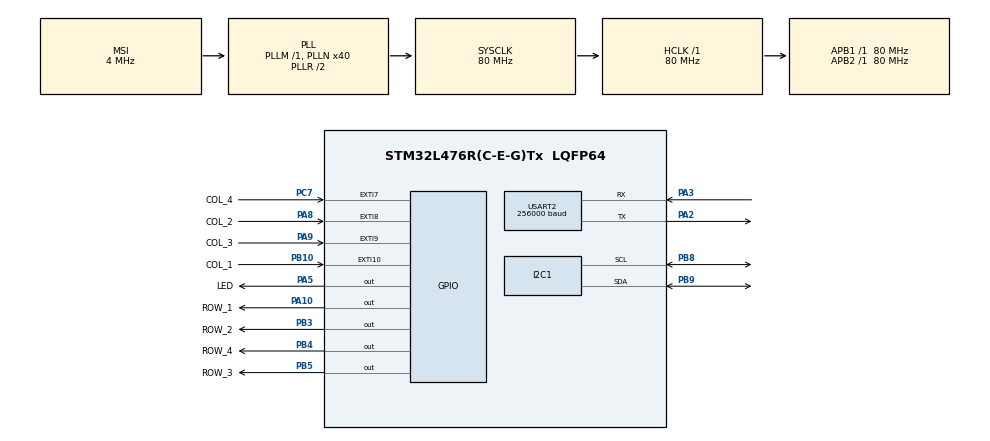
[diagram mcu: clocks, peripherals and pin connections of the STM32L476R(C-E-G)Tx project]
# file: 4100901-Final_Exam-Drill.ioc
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I2C1.Timing=0x10909CEC
Mcu.Family=STM32L4
Mcu.Name=STM32L476R(C-E-G)Tx
Mcu.Package=LQFP64
NVIC.EXTI15_10_IRQn=true\:0\:0\:false\:false\:true\:true\:true\:true
NVIC.EXTI9_5_IRQn=true\:0\:0\:false\:false\:true\:true\:true\:true
NVIC.PriorityGroup=NVIC_PRIORITYGROUP_4
NVIC.USART2_IRQn=true\:0\:0\:false\:false\:true\:true\:true\:true
PA10.GPIO_Label=ROW_1
PA10.PinState=GPIO_PIN_SET
PA10.Signal=GPIO_Output
PA2.Mode=Asynchronous
PA2.Signal=USART2_TX
PA3.Mode=Asynchronous
PA3.Signal=USART2_RX
PA5.GPIO_Label=LED
PA5.Signal=GPIO_Output
PA8.GPIO_Label=COL_2
PA8.GPIO_ModeDefaultEXTI=GPIO_MODE_IT_RISING
PA8.GPIO_PuPd=GPIO_PULLDOWN
PA8.Signal=GPXTI8
PA9.GPIO_Label=COL_3
PA9.GPIO_ModeDefaultEXTI=GPIO_MODE_IT_RISING
PA9.GPIO_PuPd=GPIO_PULLDOWN
PA9.Signal=GPXTI9
PB10.GPIO_Label=COL_1
PB10.GPIO_ModeDefaultEXTI=GPIO_MODE_IT_RISING
PB10.GPIO_PuPd=GPIO_PULLDOWN
PB10.Signal=GPXTI10
PB3\ (JTDO-TRACESWO).GPIO_Label=ROW_2
PB3\ (JTDO-TRACESWO).PinState=GPIO_PIN_SET
PB3\ (JTDO-TRACESWO).Signal=GPIO_Output
PB4\ (NJTRST).GPIO_Label=ROW_4
PB4\ (NJTRST).PinState=GPIO_PIN_SET
PB4\ (NJTRST).Signal=GPIO_Output
PB5.GPIO_Label=ROW_3
PB5.PinState=GPIO_PIN_SET
PB5.Signal=GPIO_Output
PB8.Mode=I2C
PB8.Signal=I2C1_SCL
PB9.Mode=I2C
PB9.Signal=I2C1_SDA
PC7.GPIO_Label=COL_4
PC7.GPIO_ModeDefaultEXTI=GPIO_MODE_IT_RISING
PC7.GPIO_PuPd=GPIO_PULLDOWN
PC7.Signal=GPXTI7
ProjectManager.HeapSize=0x200
ProjectManager.StackSize=0x400
ProjectManager.TargetToolchain=STM32CubeIDE
RCC.AHBFreq_Value=80000000
RCC.APB1Freq_Value=80000000
RCC.APB1TimFreq_Value=80000000
RCC.APB2Freq_Value=80000000
RCC.APB2TimFreq_Value=80000000
RCC.CortexFreq_Value=80000000
RCC.HCLKFreq_Value=80000000
RCC.HSE_VALUE=8000000
RCC.HSI_VALUE=16000000
RCC.LSE_VALUE=32768
RCC.MSI_VALUE=4000000
RCC.PLLN=40
RCC.SYSCLKFreq_VALUE=80000000
RCC.SYSCLKSource=RCC_SYSCLKSOURCE_PLLCLK
RCC.VCOOutputFreq_Value=160000000
USART2.BaudRate=256000
USART2.VirtualMode-Asynchronous=VM_ASYNC
board=custom

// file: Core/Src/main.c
/* USER CODE BEGIN Header */
/**
  ******************************************************************************
  * @file           : main.c
  * @brief          : Main program body
  ******************************************************************************
  * @attention
  *
  * Copyright (c) 2024 STMicroelectronics.
  * All rights reserved.
  *
  * This software is licensed under terms that can be found in the LICENSE file
  * in the root directory of this software component.
  * If no LICENSE file comes with this software, it is provided AS-IS.
  *
  ******************************************************************************
  */
/* USER CODE END Header */
#include "main.h"

/* USER CODE BEGIN Includes */
#include <stdio.h>
#include <string.h>
#include "ssd1306.h"
#include "ssd1306_fonts.h"
#include "keypad.h"
#include "led.h"
/* USER CODE END Includes */

/* USER CODE BEGIN PD */
// Definition of Variables
#define MAX_ID_LENGTH 10 // Maximum length for ID input
#define ID_OK "1080691539" // Number of correct ID
#define LED_ON_DURATION 3000  // Led On for 3 seconds (3000ms)

/* USER CODE END PD */

I2C_HandleTypeDef hi2c1;

UART_HandleTypeDef huart2;

/* USER CODE BEGIN PV */
char id[MAX_ID_LENGTH + 1];  // Buffer for storing ID, +1 for null-termination
uint8_t id_idx = 0;  // Index for the current position in the ID buffer
uint8_t system_status = 0;  // System state: 0 = off, 1 = ID correct, 2 = ID incorrect
uint32_t led_start_time = 0; // Time when the LED was turned on
/* USER CODE END PV */

void SystemClock_Config(void);
static void MX_GPIO_Init(void);
static void MX_USART2_UART_Init(void);
static void MX_I2C1_Init(void);

/* USER CODE BEGIN 0 */
int _write(int file, char *ptr, int len)
{
  HAL_UART_Transmit(&huart2, (uint8_t *)ptr, len, HAL_MAX_DELAY);
  return len;
}

void HAL_GPIO_EXTI_Callback(uint16_t GPIO_Pin)
{
	uint8_t key_pressed = keypad_scan(GPIO_Pin);
	if (key_pressed != 0xFF){
		printf("Pressed: %c\r\n",key_pressed);
		// Handle numeric input
		if(key_pressed >='0' && key_pressed <= '9' && id_idx < MAX_ID_LENGTH){
			id[id_idx++] = key_pressed;
			id[id_idx] = '\0'; // Null-terminate the string
			// Update OLED display with entered ID
			ssd1306_Fill(Black);
			ssd1306_SetCursor(0,0);
			ssd1306_WriteString("ID: ",Font_7x10,White);
			ssd1306_SetCursor(0,15);
			ssd1306_WriteString(id, Font_7x10,White);
			ssd1306_UpdateScreen();
			printf("ID Entered: %s\r\n", id);
		// Handle '#' key for ID verification
		}else if(key_pressed == '#'){
			printf("Verifying ID\r\n");
			if(strcmp(id,ID_OK)==0){
				system_status=1; //ID CORRECT
				printf("ID Correct\r\n");
			}else{
				system_status=2; // ID INCORRECT
				printf("ID Incorrect\r\n");
			}
			led_start_time = HAL_GetTick();
			// Handle '*' key for reset
		}else if (key_pressed == '*'){
			memset(id,0,sizeof(id));
			id_idx = 0;
			ssd1306_Fill(Black);
			ssd1306_SetCursor(0,0);
			ssd1306_WriteString("ID: ",Font_7x10,White);
			ssd1306_UpdateScreen();
			printf("Reset\r\n");
		}

		}
}
/* USER CODE END 0 */

int main(void)
{

  /* MCU Configuration--------------------------------------------------------*/

  /* Reset of all peripherals, Initializes the Flash interface and the Systick. */
  HAL_Init();

  /* Configure the system clock */
  SystemClock_Config();

  /* Initialize all configured peripherals */
  MX_GPIO_Init();
  MX_USART2_UART_Init();
  MX_I2C1_Init();
  /* USER CODE BEGIN 2 */
  LED_Init(LED_GPIO_Port, LED_Pin);
  // Initialize SSD1306 OLED display
  ssd1306_Init();
  printf("SSD1306 initialization attempted\r\n");
  // Clear the display and show initial message
  ssd1306_Fill(Black);
  ssd1306_SetCursor(0, 0);
  ssd1306_WriteString("Enter ID:", Font_7x10, White);
  ssd1306_UpdateScreen();
  /* USER CODE END 2 */

  /* Infinite loop */
  while (1)
  {

    /* USER CODE BEGIN 3 */
	  if(system_status !=0){
		  uint32_t current_time = HAL_GetTick();
		  // Check if LED should be on or blinking
		  if(current_time - led_start_time <LED_ON_DURATION){
			  if(system_status == 1){
				  LED_SetState(LED_ON); // Correct ID: Solid LED
			  }else{
				  LED_SetState(LED_BLINK);  // Incorrect ID: Blinking LED
			  }
			  LED_Update();
		  }else{
			  // After LED_ON_DURATION, turn off LED and update display
			  LED_SetState(LED_OFF);
			  ssd1306_Fill(Black);
			  ssd1306_SetCursor(0,0);
			  ssd1306_WriteString(system_status == 1 ? "Success" : "Error", Font_11x18, White);
			  ssd1306_UpdateScreen();
			  printf("Display Updated: %s\r\n", system_status == 1 ? "Success" : "Error");
			  HAL_Delay(1000); // Display result for 1 second
			  // Reset system for next ID entry
			  ssd1306_Fill(Black);
			  ssd1306_SetCursor(0,0);
			  ssd1306_WriteString("Enter ID:", Font_7x10, White);
			  ssd1306_UpdateScreen();
			  printf("System Reset, You can enter a new ID\r\n");
			  memset(id,0,sizeof(id));
			  id_idx = 0;
			  system_status=0;
		  }
	  }
  }
  /* USER CODE END 3 */
}

void SystemClock_Config(void)
{
  RCC_OscInitTypeDef RCC_OscInitStruct = {0};
  RCC_ClkInitTypeDef RCC_ClkInitStruct = {0};

  /** Configure the main internal regulator output voltage
  */
  if (HAL_PWREx_ControlVoltageScaling(PWR_REGULATOR_VOLTAGE_SCALE1) != HAL_OK)
  {
    Error_Handler();
  }

  /** Initializes the RCC Oscillators according to the specified parameters
  * in the RCC_OscInitTypeDef structure.
  */
  RCC_OscInitStruct.OscillatorType = RCC_OSCILLATORTYPE_MSI;
  RCC_OscInitStruct.MSIState = RCC_MSI_ON;
  RCC_OscInitStruct.MSICalibrationValue = 0;
  RCC_OscInitStruct.MSIClockRange = RCC_MSIRANGE_6;
  RCC_OscInitStruct.PLL.PLLState = RCC_PLL_ON;
  RCC_OscInitStruct.PLL.PLLSource = RCC_PLLSOURCE_MSI;
  RCC_OscInitStruct.PLL.PLLM = 1;
  RCC_OscInitStruct.PLL.PLLN = 40;
  RCC_OscInitStruct.PLL.PLLP = RCC_PLLP_DIV7;
  RCC_OscInitStruct.PLL.PLLQ = RCC_PLLQ_DIV2;
  RCC_OscInitStruct.PLL.PLLR = RCC_PLLR_DIV2;
  if (HAL_RCC_OscConfig(&RCC_OscInitStruct) != HAL_OK)
  {
    Error_Handler();
  }

  /** Initializes the CPU, AHB and APB buses clocks
  */
  RCC_ClkInitStruct.ClockType = RCC_CLOCKTYPE_HCLK|RCC_CLOCKTYPE_SYSCLK
                              |RCC_CLOCKTYPE_PCLK1|RCC_CLOCKTYPE_PCLK2;
  RCC_ClkInitStruct.SYSCLKSource = RCC_SYSCLKSOURCE_PLLCLK;
  RCC_ClkInitStruct.AHBCLKDivider = RCC_SYSCLK_DIV1;
  RCC_ClkInitStruct.APB1CLKDivider = RCC_HCLK_DIV1;
  RCC_ClkInitStruct.APB2CLKDivider = RCC_HCLK_DIV1;

  if (HAL_RCC_ClockConfig(&RCC_ClkInitStruct, FLASH_LATENCY_4) != HAL_OK)
  {
    Error_Handler();
  }
}

static void MX_I2C1_Init(void)
{

  hi2c1.Instance = I2C1;
  hi2c1.Init.Timing = 0x10909CEC;
  hi2c1.Init.OwnAddress1 = 0;
  hi2c1.Init.AddressingMode = I2C_ADDRESSINGMODE_7BIT;
  hi2c1.Init.DualAddressMode = I2C_DUALADDRESS_DISABLE;
  hi2c1.Init.OwnAddress2 = 0;
  hi2c1.Init.OwnAddress2Masks = I2C_OA2_NOMASK;
  hi2c1.Init.GeneralCallMode = I2C_GENERALCALL_DISABLE;
  hi2c1.Init.NoStretchMode = I2C_NOSTRETCH_DISABLE;
  if (HAL_I2C_Init(&hi2c1) != HAL_OK)
  {
    Error_Handler();
  }

  /** Configure Analogue filter
  */
  if (HAL_I2CEx_ConfigAnalogFilter(&hi2c1, I2C_ANALOGFILTER_ENABLE) != HAL_OK)
  {
    Error_Handler();
  }

  /** Configure Digital filter
  */
  if (HAL_I2CEx_ConfigDigitalFilter(&hi2c1, 0) != HAL_OK)
  {
    Error_Handler();
  }

}

static void MX_USART2_UART_Init(void)
{

  huart2.Instance = USART2;
  huart2.Init.BaudRate = 256000;
  huart2.Init.WordLength = UART_WORDLENGTH_8B;
  huart2.Init.StopBits = UART_STOPBITS_1;
  huart2.Init.Parity = UART_PARITY_NONE;
  huart2.Init.Mode = UART_MODE_TX_RX;
  huart2.Init.HwFlowCtl = UART_HWCONTROL_NONE;
  huart2.Init.OverSampling = UART_OVERSAMPLING_16;
  huart2.Init.OneBitSampling = UART_ONE_BIT_SAMPLE_DISABLE;
  huart2.AdvancedInit.AdvFeatureInit = UART_ADVFEATURE_NO_INIT;
  if (HAL_UART_Init(&huart2) != HAL_OK)
  {
    Error_Handler();
  }

}

static void MX_GPIO_Init(void)
{
  GPIO_InitTypeDef GPIO_InitStruct = {0};

  /* GPIO Ports Clock Enable */
  __HAL_RCC_GPIOA_CLK_ENABLE();
  __HAL_RCC_GPIOB_CLK_ENABLE();
  __HAL_RCC_GPIOC_CLK_ENABLE();

  /*Configure GPIO pin Output Level */
  HAL_GPIO_WritePin(LED_GPIO_Port, LED_Pin, GPIO_PIN_RESET);

  /*Configure GPIO pin Output Level */
  HAL_GPIO_WritePin(ROW_1_GPIO_Port, ROW_1_Pin, GPIO_PIN_SET);

  /*Configure GPIO pin Output Level */
  HAL_GPIO_WritePin(GPIOB, ROW_2_Pin|ROW_4_Pin|ROW_3_Pin, GPIO_PIN_SET);

  /*Configure GPIO pins : LED_Pin ROW_1_Pin */
  GPIO_InitStruct.Pin = LED_Pin|ROW_1_Pin;
  GPIO_InitStruct.Mode = GPIO_MODE_OUTPUT_PP;
  GPIO_InitStruct.Pull = GPIO_NOPULL;
  GPIO_InitStruct.Speed = GPIO_SPEED_FREQ_LOW;
  HAL_GPIO_Init(GPIOA, &GPIO_InitStruct);

  /*Configure GPIO pin : COL_1_Pin */
  GPIO_InitStruct.Pin = COL_1_Pin;
  GPIO_InitStruct.Mode = GPIO_MODE_IT_RISING;
  GPIO_InitStruct.Pull = GPIO_PULLDOWN;
  HAL_GPIO_Init(COL_1_GPIO_Port, &GPIO_InitStruct);

  /*Configure GPIO pin : COL_4_Pin */
  GPIO_InitStruct.Pin = COL_4_Pin;
  GPIO_InitStruct.Mode = GPIO_MODE_IT_RISING;
  GPIO_InitStruct.Pull = GPIO_PULLDOWN;
  HAL_GPIO_Init(COL_4_GPIO_Port, &GPIO_InitStruct);

  /*Configure GPIO pins : COL_2_Pin COL_3_Pin */
  GPIO_InitStruct.Pin = COL_2_Pin|COL_3_Pin;
  GPIO_InitStruct.Mode = GPIO_MODE_IT_RISING;
  GPIO_InitStruct.Pull = GPIO_PULLDOWN;
  HAL_GPIO_Init(GPIOA, &GPIO_InitStruct);

  /*Configure GPIO pins : ROW_2_Pin ROW_4_Pin ROW_3_Pin */
  GPIO_InitStruct.Pin = ROW_2_Pin|ROW_4_Pin|ROW_3_Pin;
  GPIO_InitStruct.Mode = GPIO_MODE_OUTPUT_PP;
  GPIO_InitStruct.Pull = GPIO_NOPULL;
  GPIO_InitStruct.Speed = GPIO_SPEED_FREQ_LOW;
  HAL_GPIO_Init(GPIOB, &GPIO_InitStruct);

  /* EXTI interrupt init*/
  HAL_NVIC_SetPriority(EXTI9_5_IRQn, 0, 0);
  HAL_NVIC_EnableIRQ(EXTI9_5_IRQn);

  HAL_NVIC_SetPriority(EXTI15_10_IRQn, 0, 0);
  HAL_NVIC_EnableIRQ(EXTI15_10_IRQn);

}

void Error_Handler(void)
{
  __disable_irq();
  while (1)
  {
  }
}
